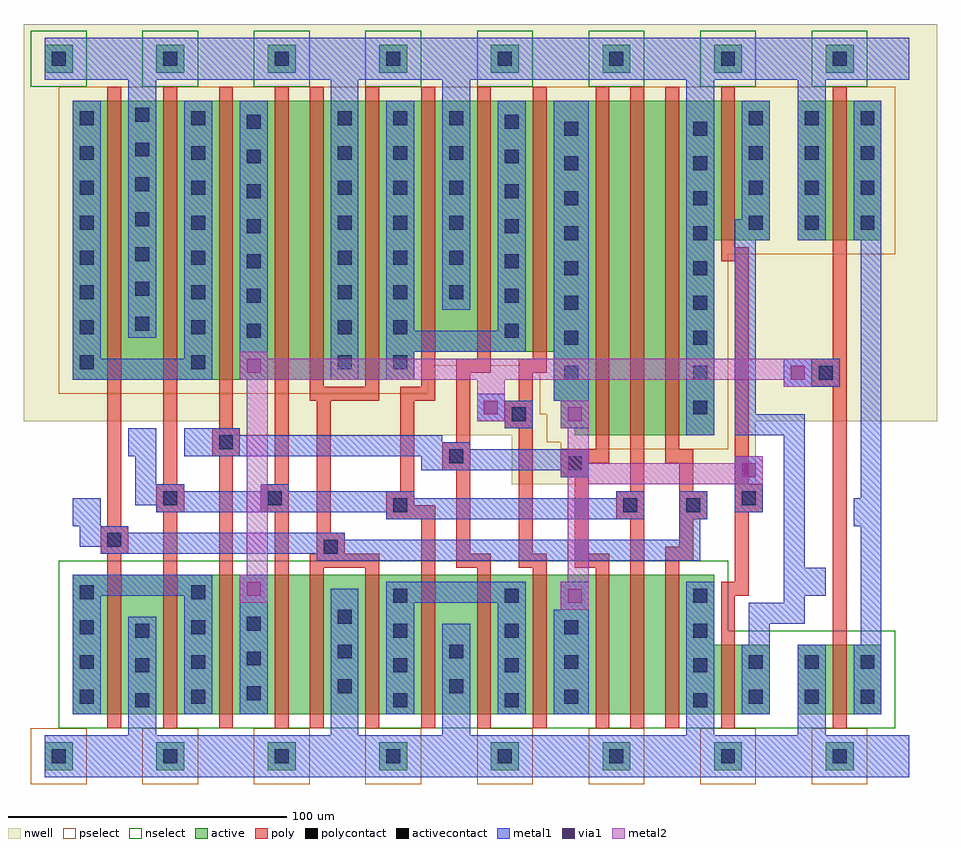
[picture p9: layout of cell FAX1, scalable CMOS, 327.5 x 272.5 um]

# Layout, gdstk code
import gdstk
lib = gdstk.Library(unit=1e-6, precision=1e-09)
def R(c, l, rs):  # rectangles x0, y0, x1, y1
    for r in rs: c.add(gdstk.rectangle(r[:2], r[2:], *l))
def A(c, l, x, y, w, h, nx, ny, dx, dy):  # array of equal rectangles
    R(c, l, [(x+i*dx, y+j*dy, x+i*dx+w, y+j*dy+h) for i in range(nx) for j in range(ny)])
nwell = (42, 0)
active = (43, 0)
pselect = (44, 0)
nselect = (45, 0)
poly = (46, 0)
polycontact = (47, 0)
activecontact = (48, 0)
metal1 = (49, 0)
via1 = (50, 0)
metal2 = (51, 0)

fax1 = lib.new_cell('FAX1')
R(fax1, nwell, [(162.5,97.5,250,115), (57.5,115,250,120), (-12.5,120,315,262.5)])
A(fax1, active, -5, -5, 10, 10, 8, 2, 40, 250)
R(fax1, active, [(5,15,255,40), (265,15,295,40), (5,40,235,65), (185,115,235,117.5), (180,117.5,235,127.5), (177.5,127.5,235,145), (5,135,127.5,145), (5,145,235,185), (5,185,255,235), (265,185,295,235)])
A(fax1, pselect, -10, -10, 20, 20, 8, 1, 40, 0)
R(fax1, pselect, [(180,110,240,112.5), (175,112.5,240,122.5), (172.5,122.5,240,140), (0,130,132.5,140), (0,140,240,180), (0,180,300,240)])
A(fax1, nselect, -10, 240, 20, 20, 8, 1, 40, 0)
R(fax1, nselect, [(0,10,300,45), (0,45,240,70)])
A(fax1, poly, 90, 132.5, 5, 107.5, 3, 1, 20, 0)
R(fax1, poly, [(17.5,10,22.5,72.5), (37.5,10,42.5,87.5), (57.5,10,62.5,107.5), (77.5,10,82.5,87.5), (90,10,95,67.5), (110,10,115,67.5), (130,10,135,85), (150,10,155,67.5), (170,10,175,67.5), (192.5,10,197.5,67.5), (205,10,210,85), (217.5,10,222.5,70), (237.5,10,242.5,57.5), (277.5,10,282.5,132.5), (237.5,57.5,247.5,62.5), (242.5,62.5,247.5,87.5), (90,67.5,115,72.5), (142.5,67.5,155,72.5), (165,67.5,175,72.5), (185,67.5,197.5,72.5), (217.5,70,227.5,75), (15,72.5,25,82.5), (92.5,72.5,102.5,80), (142.5,72.5,147.5,102.5), (165,72.5,170,117.5), (185,72.5,190,100), (222.5,75,227.5,85), (92.5,80,97.5,127.5), (17.5,82.5,22.5,240), (117.5,85,135,90), (200,85,210,95), (222.5,85,232.5,95), (35,87.5,45,97.5), (72.5,87.5,82.5,97.5), (242.5,87.5,252.5,97.5), (117.5,90,127.5,95), (122.5,95,127.5,127.5), (205,95,210,240), (222.5,95,227.5,105), (37.5,97.5,42.5,240), (77.5,97.5,82.5,240), (242.5,97.5,247.5,177.5), (180,100,190,105), (137.5,102.5,147.5,112.5), (180,105,197.5,110), (217.5,105,227.5,110), (55,107.5,65,117.5), (192.5,110,197.5,240), (217.5,110,222.5,240), (142.5,112.5,147.5,137.5), (57.5,117.5,62.5,240), (160,117.5,170,127.5), (90,127.5,115,132.5), (122.5,127.5,135,132.5), (165,127.5,170,137.5), (270,132.5,282.5,142.5), (142.5,137.5,155,142.5), (165,137.5,175,142.5), (150,142.5,155,240), (170,142.5,175,240), (277.5,142.5,282.5,240), (237.5,177.5,247.5,182.5), (237.5,182.5,242.5,240)])
R(fax1, polycontact, [(95,72.5,100,77.5), (17.5,75,22.5,80), (120,87.5,125,92.5), (202.5,87.5,207.5,92.5), (225,87.5,230,92.5), (37.5,90,42.5,95), (75,90,80,95), (245,90,250,95), (182.5,102.5,187.5,107.5), (140,105,145,110), (57.5,110,62.5,115), (162.5,120,167.5,125), (272.5,135,277.5,140)])
A(fax1, activecontact, -2.5, -2.5, 5, 5, 8, 2, 40, 250)
A(fax1, activecontact, 27.5, 17.5, 5, 5, 1, 3, 0, 12.5)
A(fax1, activecontact, 120, 17.5, 5, 5, 1, 4, 0, 12.5)
A(fax1, activecontact, 160, 17.5, 5, 5, 1, 4, 0, 12.5)
A(fax1, activecontact, 227.5, 17.5, 5, 5, 1, 4, 0, 12.5)
A(fax1, activecontact, 7.5, 18.75, 5, 5, 1, 4, 0, 12.5)
A(fax1, activecontact, 47.5, 18.75, 5, 5, 1, 4, 0, 12.5)
A(fax1, activecontact, 181.25, 18.75, 5, 5, 1, 3, 0, 12.5)
A(fax1, activecontact, 247.5, 18.75, 5, 5, 3, 2, 20, 12.5)
A(fax1, activecontact, 67.5, 20, 5, 5, 1, 3, 0, 12.5)
A(fax1, activecontact, 100, 22.5, 5, 5, 1, 3, 0, 12.5)
A(fax1, activecontact, 227.5, 122.5, 5, 5, 1, 9, 0, 12.5)
A(fax1, activecontact, 181.25, 135, 5, 5, 1, 8, 0, 12.5)
A(fax1, activecontact, 7.5, 138.75, 5, 5, 1, 8, 0, 12.5)
A(fax1, activecontact, 47.5, 138.75, 5, 5, 1, 8, 0, 12.5)
A(fax1, activecontact, 67.5, 150, 5, 5, 1, 7, 0, 12.5)
A(fax1, activecontact, 160, 150, 5, 5, 1, 7, 0, 12.5)
A(fax1, activecontact, 27.5, 152.5, 5, 5, 1, 7, 0, 12.5)
A(fax1, activecontact, 100, 163.75, 5, 5, 3, 6, 20, 12.5)
A(fax1, activecontact, 247.5, 188.75, 5, 5, 3, 4, 20, 12.5)
R(fax1, activecontact, [(140,22.5,145,27.5), (140,35,145,40), (100,138.75,105,143.75), (120,138.75,125,143.75), (100,151.25,105,156.25), (120,151.25,125,156.25)])
R(fax1, metal1, [(-5,-7.5,305,7.5), (25,7.5,35,50), (97.5,7.5,107.5,60), (137.5,7.5,147.5,47.5), (225,7.5,235,62.5), (265,7.5,275,40), (5,15,15,57.5), (45,15,55,57.5), (65,15,75,65), (117.5,15,127.5,55), (157.5,15,167.5,55), (177.5,15,190,52.5), (245,15,255,40), (285,15,295,40), (247.5,40,255,47.5), (287.5,40,295,82.5), (247.5,47.5,267.5,55), (180,52.5,190,62.5), (117.5,55,167.5,62.5), (260,55,267.5,57.5), (5,57.5,55,65), (260,57.5,275,67.5), (260,67.5,267.5,115), (92.5,70,230,72.5), (15,72.5,230,75), (7.5,75,230,77.5), (7.5,77.5,102.5,80), (222.5,77.5,230,85), (7.5,80,25,82.5), (5,82.5,15,92.5), (285,82.5,295,92.5), (117.5,85,210,87.5), (222.5,85,232.5,95), (35,87.5,210,90), (242.5,87.5,252.5,107.5), (27.5,90,210,92.5), (27.5,92.5,127.5,95), (200,92.5,210,95), (287.5,92.5,295,185), (27.5,95,45,97.5), (72.5,95,82.5,97.5), (27.5,97.5,35,107.5), (180,100,190,102.5), (130,102.5,190,107.5), (25,107.5,35,117.5), (45,107.5,190,110), (45,110,147.5,112.5), (45,112.5,137.5,115), (45,115,65,117.5), (225,115,235,242.5), (242.5,115,267.5,122.5), (160,117.5,170,120), (180,117.5,190,127.5), (150,120,170,127.5), (242.5,122.5,250,185), (150,127.5,160,130), (177.5,127.5,190,235), (260,132.5,280,142.5), (5,135,55,142.5), (65,135,75,235), (97.5,135,107.5,242.5), (117.5,135,127.5,145), (5,142.5,15,235), (45,142.5,55,235), (117.5,145,167.5,152.5), (25,150,35,242.5), (117.5,152.5,127.5,235), (157.5,152.5,167.5,235), (137.5,160,147.5,242.5), (242.5,185,255,192.5), (265,185,275,242.5), (285,185,295,235), (245,192.5,255,235), (-5,242.5,305,257.5)])
R(fax1, via1, [(182.5,55,187.5,60), (67.5,57.5,72.5,62.5), (245,100,250,105), (182.5,120,187.5,125), (152.5,122.5,157.5,127.5), (262.5,135,267.5,140), (67.5,137.5,72.5,142.5)])
R(fax1, metal2, [(180,52.5,190,62.5), (65,55,75,65), (182.5,62.5,190,97.5), (67.5,65,75,135), (182.5,97.5,252.5,105), (182.5,105,190,117.5), (242.5,105,252.5,107.5), (180,117.5,190,127.5), (150,120,160,135), (260,132.5,270,135), (65,135,270,142.5), (65,142.5,75,145)])

lib.write_gds('FAX1.gds')
